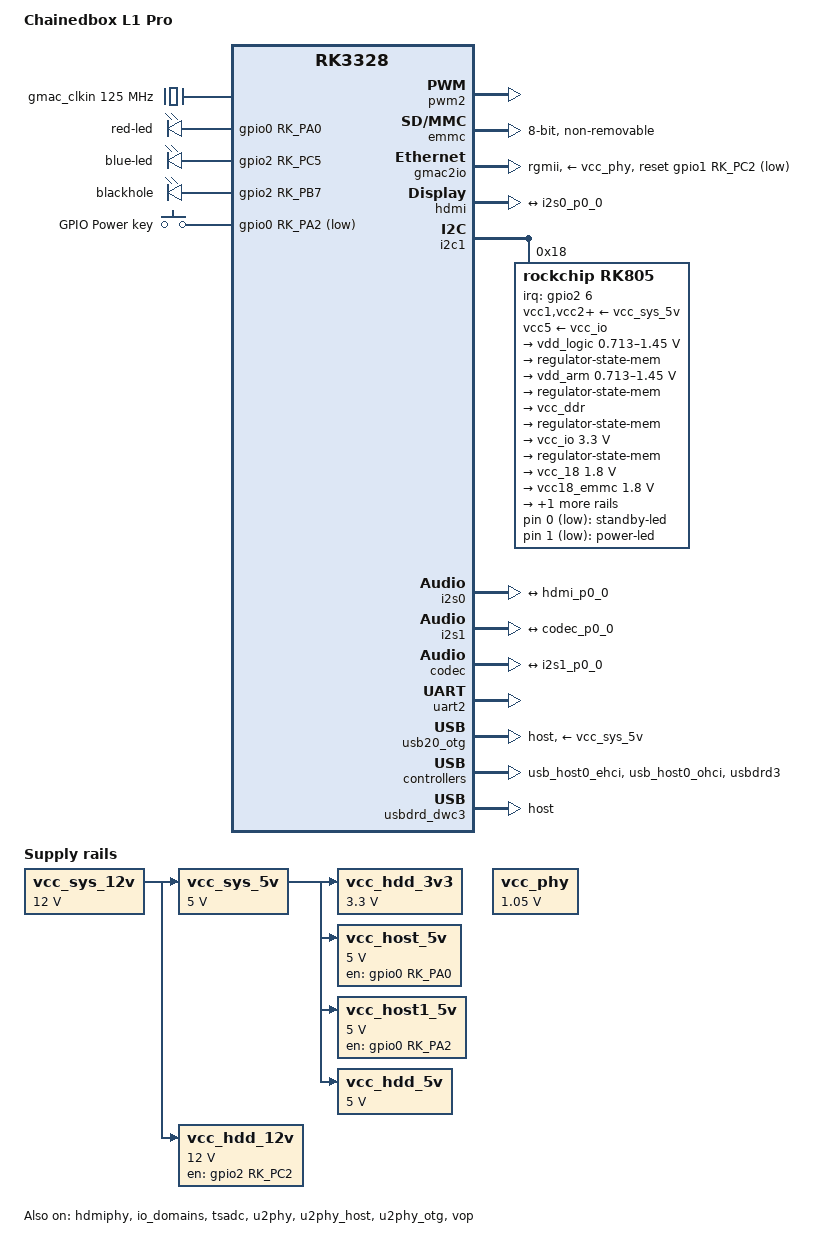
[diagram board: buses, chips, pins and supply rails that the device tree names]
// SPDX-License-Identifier: (GPL-2.0+ OR MIT)
/*
 * Copyright (c) 2017 PINE64
 */

/dts-v1/;
#include <dt-bindings/input/input.h>
#include "rk3328.dtsi"

/ {
	model = "Chainedbox L1 Pro";
	compatible = "pine64,rock64", "rockchip,rk3328";

	chosen {
		bootargs = "earlycon=uart8250,mmio32,0xff130000";
		stdout-path = "serial2:1500000n8";
	};

	gmac_clkin: external-gmac-clock {
		compatible = "fixed-clock";
		clock-frequency = <125000000>;
		clock-output-names = "gmac_clkin";
		#clock-cells = <0>;
	};

	leds {
		compatible = "gpio-leds";

                /*usb-switch {
                        linux,default-trigger = "none";
                        gpios = <&gpio0 RK_PA2 GPIO_ACTIVE_LOW>;
                        mode = <0x23>;
                        default-state = "on";
                };*/

                standby-led {
                        linux,default-trigger = "disk-activity";
                        gpios = <&rk805 0 GPIO_ACTIVE_LOW>;
                        default-state = "on";
                };

                power-led {
                        gpios = <&rk805 1 GPIO_ACTIVE_LOW>;
                        default-state = "on";
                };

		red-led {
			/*linux,default-trigger = "mmc0";*/
			gpios = <&gpio0 RK_PA0 GPIO_ACTIVE_HIGH>;
			default-state = "on";
		};

		blue-led {
			/*linux,default-trigger = "mmc0";*/
			/*linux,default-trigger = "time";*/
			/*linux,default-trigger = "disk-activity";*/
			gpios = <&gpio2 RK_PC5 GPIO_ACTIVE_HIGH>;
			default-state = "on";
		};

		blackhole {
			gpios = <&gpio2 RK_PB7 GPIO_ACTIVE_HIGH>;
			default-state = "on";
		};

	};

	vcc_sys_12v: vcc-sys-12v {
		compatible = "regulator-fixed";
		regulator-name = "vcc_sys_12v";
		regulator-always-on;
		regulator-boot-on;
		regulator-min-microvolt = <12000000>;
		regulator-max-microvolt = <12000000>;
	};

	vcc_sys_5v: vcc-sys-5v {
		compatible = "regulator-fixed";
		regulator-name = "vcc_sys_5v";
		regulator-always-on;
		regulator-boot-on;
		regulator-min-microvolt = <5000000>;
		regulator-max-microvolt = <5000000>;
		vin-supply = <&vcc_sys_12v>;
	};

	vcc_hdd_3v3: vcc-hdd-3v3-regulator {
		compatible = "regulator-fixed";
		regulator-name = "vcc_hdd_3v3";
		regulator-always-on;
		regulator-boot-on;
		regulator-min-microvolt = <3300000>;
		regulator-max-microvolt = <3300000>;
		vin-supply = <&vcc_sys_5v>;
	};
/*
        vcc_sd: sdmmc-regulator {
                compatible = "regulator-fixed";
                gpio = <&gpio0 RK_PD6 GPIO_ACTIVE_LOW>;
                pinctrl-names = "default";
                pinctrl-0 = <&sdmmc0m1_gpio>;
                regulator-name = "vcc_sd";
                regulator-min-microvolt = <3300000>;
                regulator-max-microvolt = <3300000>;
                vin-supply = <&vcc_io>;
        };
*/
	vcc_host_5v: vcc-host-5v-regulator {
		compatible = "regulator-fixed";
		enable-active-high;
		gpio = <&gpio0 RK_PA0 GPIO_ACTIVE_HIGH>;
		pinctrl-names = "default";
		pinctrl-0 = <&usb30_host_drv>;
		regulator-name = "vcc_host_5v";
		regulator-always-on;
		regulator-boot-on;
		regulator-min-microvolt = <5000000>;
		regulator-max-microvolt = <5000000>;
		vin-supply = <&vcc_sys_5v>;
	};

	vcc_host1_5v: vcc_otg_5v: vcc-host1-5v-regulator {
		compatible = "regulator-fixed";
		enable-active-high;
		gpio = <&gpio0 RK_PA2 GPIO_ACTIVE_HIGH>;
		pinctrl-names = "default";
		pinctrl-0 = <&usb20_host_drv>;
		regulator-name = "vcc_host1_5v";
		regulator-always-on;
		regulator-boot-on;
		regulator-min-microvolt = <5000000>;
		regulator-max-microvolt = <5000000>;
		vin-supply = <&vcc_sys_5v>;
	};

	vcc_phy: vcc-phy-regulator {
		compatible = "regulator-fixed";
		regulator-name = "vcc_phy";
		regulator-always-on;
		regulator-boot-on;
		regulator-min-microvolt = <1050000>;
		regulator-max-microvolt = <1050000>;
	};


        keys: gpio-keys {
                compatible = "gpio-keys";
		#address-cells = <1>;
		#size-cells = <0>;
        	autorepeat;

                pinctrl-names = "default";
                pinctrl-0 = <&pwr_key>;

                button@0 {
                        wakeup-source;
                        gpios = <&gpio0 RK_PA2 GPIO_ACTIVE_LOW>;
                        linux,code = <KEY_POWER>;
                        label = "GPIO Power key";
            		linux,input-type = <1>;
            		gpio-key,wakeup = <1>;
            		debounce-interval = <100>;
                };
        };
        /*fan0: pwm-fan {
                compatible = "pwm-fan";
                pwms = <&pwm2 0 400000 0>;
                cooling-min-state = <0>;
                cooling-max-state = <3>;
                #cooling-cells = <2>;
                cooling-levels = <0 63 127 255>;
                fan-supply = <&vcc_sys_5v>;
		status = "okay";
        };
*/

	vcc_hdd_12v: vcc-hdd-12v-regulator {
		compatible = "regulator-fixed";
		enable-active-high;
		gpio = <&gpio2 RK_PC2 GPIO_ACTIVE_HIGH>;
		pinctrl-names = "default";
		pinctrl-0 = <&hdd_pwr_pin>;
		regulator-name = "vcc_hdd_12v";
		startup-delay-us = <2000000>;
		regulator-boot-on;
		regulator-min-microvolt = <12000000>;
		regulator-max-microvolt = <12000000>;
		vin-supply = <&vcc_sys_12v>;
	};

	vcc_hdd_5v: vcc-hdd-5v-regulator {
		compatible = "regulator-fixed";
		regulator-name = "vcc_hdd_5v";
		regulator-boot-on;
		regulator-min-microvolt = <5000000>;
		regulator-max-microvolt = <5000000>;
		vin-supply = <&vcc_sys_5v>;
	};

        sound {
                compatible = "audio-graph-card";
                label = "rockchip,rk3328";
                dais = <&i2s0_p0
                        &i2s1_p0>;
        };

/*
        hdmi-sound {
                compatible = "simple-audio-card";
                simple-audio-card,format = "i2s";
                simple-audio-card,mclk-fs = <256>;
                simple-audio-card,name = "HDMI";
                simple-audio-card,cpu {
                        sound-dai = <&i2s0>;
                };
                simple-audio-card,codec {
                        sound-dai = <&hdmi>;
                };
        };
*/
};

/*
&soc_thermal {
        trips {
	
                cpu_cool: cpu_cool {
                        temperature = <45000>;
                        hysteresis = <2000>;
                        type = "active";
                };

                cpu_warm: cpu_warm {
                        temperature = <55000>;
                        hysteresis = <2000>;
                        type = "active";
                };

                cpu_hot: cpu_hot {
                        temperature = <65000>;
                        hysteresis = <2000>;
                        type = "active";
                };
        };

        cooling-maps {
                map2 {
                        trip = <&cpu_cool>;
                        cooling-device = <&fan0 0 1>;
                };

                map3 {
                        trip = <&cpu_warm>;
                        cooling-device = <&fan0 1 2>;
                };

                map4 {
                        trip = <&cpu_hot>;
                        cooling-device = <&fan0 2 3>;
                };
        };
};
*/

&pwm2 {
	status = "okay";
	pinctrl-names = "active";
	/*pinctrl-0 = <&fan_pwm_pin>;*/
};

&cpu0 {
	cpu-supply = <&vdd_arm>;
};

&cpu1 {
	cpu-supply = <&vdd_arm>;
};

&cpu2 {
	cpu-supply = <&vdd_arm>;
};

&cpu3 {
	cpu-supply = <&vdd_arm>;
};

&emmc {
	max-frequency = <200000000>;
	bus-width = <8>;
	cap-mmc-highspeed;
	mmc-hs200-1_8v;
	non-removable;
	num-slots = <1>;
	pinctrl-names = "default";
	pinctrl-0 = <&emmc_clk &emmc_cmd &emmc_bus8>;
	status = "okay";
	supports-emmc;
	clocks = <&cru HCLK_EMMC>, <&cru SCLK_EMMC>,
	         <&cru SCLK_EMMC_DRV>, <&cru SCLK_EMMC_SAMPLE>;
	clock-names = "biu", "ciu", "ciu-drv", "ciu-sample";
};

&gmac2io {
	assigned-clocks = <&cru SCLK_MAC2IO>, <&cru SCLK_MAC2IO_EXT>;
	assigned-clock-parents = <&gmac_clkin>, <&gmac_clkin>;
	clock_in_out = "input";
	phy-supply = <&vcc_phy>;
	phy-mode = "rgmii";
	pinctrl-names = "default";
	pinctrl-0 = <&rgmiim1_pins>;
	rockchip,bugged_tx_coe;
	snps,reset-gpio = <&gpio1 RK_PC2 GPIO_ACTIVE_LOW>;
	snps,reset-active-low;
	snps,reset-delays-us = <0 10000 50000>;
	tx_delay = <0x26>;
	rx_delay = <0x11>;
	status = "okay";
};

&hdmi {
	status = "okay";
        ddc-i2c-scl-high-time-ns = <9625>;
        ddc-i2c-scl-low-time-ns = <10000>;

	port@0 {
		hdmi_p0_0: endpoint {
			remote-endpoint = <&i2s0_p0_0>;
		};
	};
};

&hdmiphy {
	status = "okay";
};

&i2c1 {
	status = "okay";

	rk805: rk805@18 {
		compatible = "rockchip,rk805";
		reg = <0x18>;
		interrupt-parent = <&gpio2>;
		interrupts = <6 IRQ_TYPE_LEVEL_LOW>;
		#clock-cells = <1>;
		clock-output-names = "xin32k", "rk805-clkout2";
		gpio-controller;
		#gpio-cells = <2>;
		pinctrl-names = "default";
		pinctrl-0 = <&pmic_int_l>;
		rockchip,system-power-controller;
		wakeup-source;

		vcc1-supply = <&vcc_sys_5v>;
		vcc2-supply = <&vcc_sys_5v>;
		vcc3-supply = <&vcc_sys_5v>;
		vcc4-supply = <&vcc_sys_5v>;
		vcc5-supply = <&vcc_io>;
		vcc6-supply = <&vcc_sys_5v>;

		regulators {
			vdd_logic: DCDC_REG1 {
				regulator-name = "vdd_logic";
				regulator-min-microvolt = <712500>;
				regulator-max-microvolt = <1450000>;
				regulator-initial-mode = <0x1>;
				regulator-ramp-delay = <12500>;
				regulator-always-on;
				regulator-boot-on;
				regulator-state-mem {
					regulator-mode = <0x2>;
					regulator-on-in-suspend;
					regulator-suspend-microvolt = <1000000>;
				};
			};

			vdd_arm: DCDC_REG2 {
				regulator-name = "vdd_arm";
				regulator-min-microvolt = <712500>;
				regulator-max-microvolt = <1450000>;
				regulator-initial-mode = <0x1>;
				regulator-ramp-delay = <12500>;
				regulator-always-on;
				regulator-boot-on;
				regulator-state-mem {
					regulator-mode = <0x2>;
					regulator-on-in-suspend;
					regulator-suspend-microvolt = <950000>;
				};
			};

			vcc_ddr: DCDC_REG3 {
				regulator-name = "vcc_ddr";
				regulator-initial-mode = <0x1>;
				regulator-always-on;
				regulator-boot-on;
				regulator-state-mem {
					regulator-mode = <0x2>;
					regulator-on-in-suspend;
				};
			};

			vcc_io: DCDC_REG4 {
				regulator-name = "vcc_io";
				regulator-min-microvolt = <3300000>;
				regulator-max-microvolt = <3300000>;
				regulator-initial-mode = <0x1>;
				regulator-always-on;
				regulator-boot-on;
				regulator-state-mem {
					regulator-mode = <0x2>;
					regulator-on-in-suspend;
					regulator-suspend-microvolt = <3300000>;
				};
			};

			vcc_18: LDO_REG1 {
				regulator-name = "vcc_18";
				regulator-min-microvolt = <1800000>;
				regulator-max-microvolt = <1800000>;
				regulator-always-on;
				regulator-boot-on;
				regulator-state-mem {
					regulator-on-in-suspend;
					regulator-suspend-microvolt = <1800000>;
				};
			};

			vcc18_emmc: LDO_REG2 {
				regulator-name = "vcc18_emmc";
				regulator-min-microvolt = <1800000>;
				regulator-max-microvolt = <1800000>;
				regulator-always-on;
				regulator-boot-on;
				regulator-state-mem {
					regulator-on-in-suspend;
					regulator-suspend-microvolt = <1800000>;
				};
			};

			vdd_10: LDO_REG3 {
				regulator-name = "vdd_10";
				regulator-min-microvolt = <1000000>;
				regulator-max-microvolt = <1000000>;
				regulator-always-on;
				regulator-boot-on;
				regulator-state-mem {
					regulator-on-in-suspend;
					regulator-suspend-microvolt = <1000000>;
				};
			};
		};
	};
};

&i2s0 {
	status = "okay";

	i2s0_p0: port {
		i2s0_p0_0: endpoint {
			dai-format = "i2s";
			mclk-fs = <256>;
			remote-endpoint = <&hdmi_p0_0>;
		};
	};
};

&i2s1 {
	status = "okay";

	i2s1_p0: port {
		i2s1_p0_0: endpoint {
			dai-format = "i2s";
			mclk-fs = <256>;
			remote-endpoint = <&codec_p0_0>;
		};
	};
};

&codec {
	status = "okay";

	port@0 {
		codec_p0_0: endpoint {
			remote-endpoint = <&i2s1_p0_0>;
		};
	};
};

&io_domains {
	status = "okay";

	vccio1-supply = <&vcc_io>;
	vccio2-supply = <&vcc18_emmc>;
	vccio3-supply = <&vcc_io>;
	vccio4-supply = <&vcc_18>;
	vccio5-supply = <&vcc_io>;
	vccio6-supply = <&vcc_io>;
	pmuio-supply = <&vcc_io>;
};

&pinctrl {

        keys {
                pwr_key: pwr-key {
                        rockchip,pins = <0 RK_PA2 RK_FUNC_GPIO &pcfg_pull_up>;
                };
        };

        hdd {
                hdd_pwr_pin: hdd-pwr-pin {
                        rockchip,pins = <2 RK_PC2 RK_FUNC_GPIO &pcfg_pull_up>;
                };
        };

	fan {
		fan_pwm_pin: fan-pwm-pin {
			rockchip,pins = <2 RK_PA6 RK_FUNC_1 &pcfg_pull_none>;
		};

		fan_pwr_pin: fan-pwr-pin {
			rockchip,pins = <2 RK_PB7 RK_FUNC_GPIO &pcfg_pull_up>;
		};
	};

	pmic {
		pmic_int_l: pmic-int-l {
			rockchip,pins = <3 RK_PA6 RK_FUNC_GPIO &pcfg_pull_up>;  
		};
	};

	usb2 {
		usb20_host_drv: usb20-host-drv {
			rockchip,pins = <0 RK_PA2 RK_FUNC_GPIO &pcfg_pull_none>;
		};
	};

	usb3 {
		usb30_host_drv: usb30-host-drv {
			rockchip,pins = <0 RK_PA0 RK_FUNC_GPIO &pcfg_pull_none>;
		};
	};

};

&sdmmc {
	status = "disabled";
};

&spdif {
	status = "disabled";
};

&spi0 {
	status = "disabled";
};

&tsadc {
	rockchip,hw-tshut-mode = <0>;
	rockchip,hw-tshut-polarity = <0>;
	status = "okay";
};

&uart2 {
	status = "okay";
};

&u2phy {
	status = "okay";
};

&u2phy_host {
	status = "okay";
};

&u2phy_otg {
	status = "okay";
};

&usb20_otg {
	dr_mode = "host";
	status = "okay";
	phy-supply = <&vcc_sys_5v>;
};

&usb_host0_ehci {
	status = "okay";
};

&usb_host0_ohci {
	status = "okay";
};

&vop {
	status = "okay";
};

&vop_mmu {
	status = "okay";
};

&usbdrd3 {
	status = "okay";
};

&usbdrd_dwc3 {
	dr_mode = "host";
	status = "okay";
};

&grf_gpio {
        status = "disabled";
};
